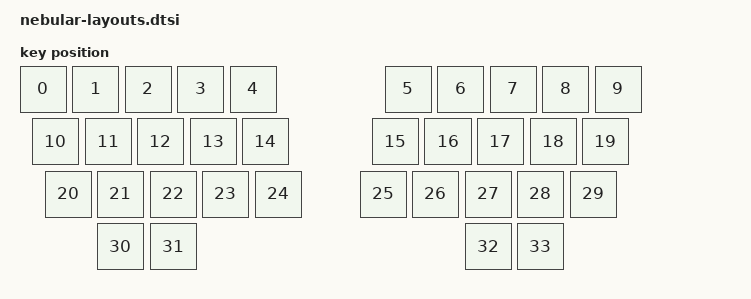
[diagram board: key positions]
// zmk-config/boards/shields/nebular/nebular-layouts.dtsi
// See https://zmk.dev/docs/development/hardware-integration/physical-layouts

#include <physical_layouts.dtsi>

/ {
    default_layout: default_layout {
        compatible = "zmk,physical-layout";
        display-name = "Nebular 3x5+2"; // Descriptive name
        transform = <&default_transform>;
        kscan = <&kscan>;

        // Physical layout definition for ZMK Studio etc.
        // Assumes 1u keys (100x100), 5 unit spacing (keys are 105 units apart center-to-center)
        // Row stagger: Row 1 +25 units right/left, Row 2 +50 units right/left
        // Split gap: ~160 units
        // Thumb keys positioned below inner columns of Row 2
        // NOTE: Adjust x/y values if your actual physical layout differs significantly.

        keys //                     w    h     x     y     rot   rx   ry
            = /* Left Hand */
              /* Row 0 (Top) */
              <&key_physical_attrs 100 100     0     0      0    0    0>  /* RC(0,0) */
            , <&key_physical_attrs 100 100   105     0      0    0    0>  /* RC(0,1) */
            , <&key_physical_attrs 100 100   210     0      0    0    0>  /* RC(0,2) */
            , <&key_physical_attrs 100 100   315     0      0    0    0>  /* RC(0,3) */
            , <&key_physical_attrs 100 100   420     0      0    0    0>  /* RC(0,4) */
              /* Right Hand */
              /* Row 0 (Top) */
            , <&key_physical_attrs 100 100   730     0      0    0    0>  /* RC(0,5) - Start of Right (420+100+160+50 = 730) */
            , <&key_physical_attrs 100 100   835     0      0    0    0>  /* RC(0,6) */
            , <&key_physical_attrs 100 100   940     0      0    0    0>  /* RC(0,7) */
            , <&key_physical_attrs 100 100  1045     0      0    0    0>  /* RC(0,8) */
            , <&key_physical_attrs 100 100  1150     0      0    0    0>  /* RC(0,9) */

              /* Left Hand */
              /* Row 1 (Middle) - Stagger +25 */
            , <&key_physical_attrs 100 100    25   105      0    0    0>  /* RC(1,0) */
            , <&key_physical_attrs 100 100   130   105      0    0    0>  /* RC(1,1) */
            , <&key_physical_attrs 100 100   235   105      0    0    0>  /* RC(1,2) */
            , <&key_physical_attrs 100 100   340   105      0    0    0>  /* RC(1,3) */
            , <&key_physical_attrs 100 100   445   105      0    0    0>  /* RC(1,4) */
              /* Right Hand */
              /* Row 1 (Middle) - Stagger -25 */
            , <&key_physical_attrs 100 100   705   105      0    0    0>  /* RC(1,5) */
            , <&key_physical_attrs 100 100   810   105      0    0    0>  /* RC(1,6) */
            , <&key_physical_attrs 100 100   915   105      0    0    0>  /* RC(1,7) */
            , <&key_physical_attrs 100 100  1020   105      0    0    0>  /* RC(1,8) */
            , <&key_physical_attrs 100 100  1125   105      0    0    0>  /* RC(1,9) */

              /* Left Hand */
              /* Row 2 (Bottom) - Stagger +50 */
            , <&key_physical_attrs 100 100    50   210      0    0    0>  /* RC(2,0) */
            , <&key_physical_attrs 100 100   155   210      0    0    0>  /* RC(2,1) */
            , <&key_physical_attrs 100 100   260   210      0    0    0>  /* RC(2,2) */
            , <&key_physical_attrs 100 100   365   210      0    0    0>  /* RC(2,3) */
            , <&key_physical_attrs 100 100   470   210      0    0    0>  /* RC(2,4) */
              /* Right Hand */
              /* Row 2 (Bottom) - Stagger -50 */
            , <&key_physical_attrs 100 100   680   210      0    0    0>  /* RC(2,5) */
            , <&key_physical_attrs 100 100   785   210      0    0    0>  /* RC(2,6) */
            , <&key_physical_attrs 100 100   890   210      0    0    0>  /* RC(2,7) */
            , <&key_physical_attrs 100 100   995   210      0    0    0>  /* RC(2,8) */
            , <&key_physical_attrs 100 100  1100   210      0    0    0>  /* RC(2,9) */

              /* Left Hand */
              /* Row 3 (Thumb) - Positioned below Row 2, cols 1 & 2 */
            , <&key_physical_attrs 100 100   155   315      0    0    0>  /* RC(3,0) - Under RC(2,1) */
            , <&key_physical_attrs 100 100   260   315      0    0    0>  /* RC(3,1) - Under RC(2,2) */
              /* Right Hand */
              /* Row 3 (Thumb) - Positioned below Row 2, cols 7 & 8 */
            , <&key_physical_attrs 100 100   890   315      0    0    0>  /* RC(3,2) - Under RC(2,7) */
            , <&key_physical_attrs 100 100   995   315      0    0    0>  /* RC(3,3) - Under RC(2,8) */
            ;
    };
};
